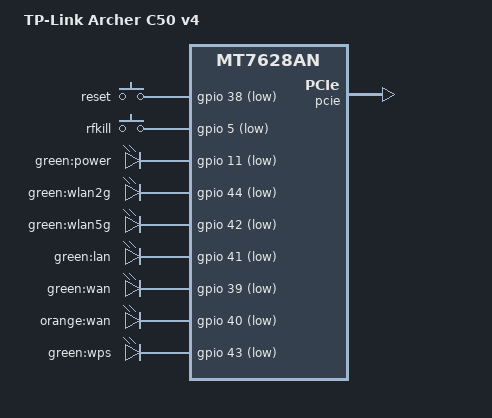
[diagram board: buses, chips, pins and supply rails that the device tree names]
// SPDX-License-Identifier: GPL-2.0-or-later OR MIT

#include "mt7628an_tplink_8m-split-uboot.dtsi"

/ {
	compatible = "tplink,archer-c50-v4", "mediatek,mt7628an-soc";
	model = "TP-Link Archer C50 v4";

	aliases {
		led-boot = &led_power;
		led-failsafe = &led_power;
		led-running = &led_power;
		led-upgrade = &led_power;
	};

	keys {
		compatible = "gpio-keys";

		reset {
			label = "reset";
			gpios = <&gpio 38 GPIO_ACTIVE_LOW>;
			linux,code = <KEY_RESTART>;
		};

		rfkill {
			label = "rfkill";
			gpios = <&gpio 5 GPIO_ACTIVE_LOW>;
			linux,code = <KEY_RFKILL>;
		};
	};

	leds {
		compatible = "gpio-leds";

		led_power: power {
			label = "green:power";
			gpios = <&gpio 11 GPIO_ACTIVE_LOW>;
		};

		wlan2 {
			label = "green:wlan2g";
			gpios = <&gpio 44 GPIO_ACTIVE_LOW>;
		};

		wlan5 {
			label = "green:wlan5g";
			gpios = <&gpio 42 GPIO_ACTIVE_LOW>;
		};

		lan {
			label = "green:lan";
			gpios = <&gpio 41 GPIO_ACTIVE_LOW>;
		};

		wan {
			label = "green:wan";
			gpios = <&gpio 39 GPIO_ACTIVE_LOW>;
		};

		wan_orange {
			label = "orange:wan";
			gpios = <&gpio 40 GPIO_ACTIVE_LOW>;
		};

		wps {
			label = "green:wps";
			gpios = <&gpio 43 GPIO_ACTIVE_LOW>;
		};
	};
};

&ehci {
	status = "disabled";
};

&ohci {
	status = "disabled";
};

&state_default {
	gpio {
		groups = "i2c", "p0led_an", "p1led_an", "p2led_an",
				   "p3led_an", "p4led_an", "wdt", "wled_an";
		function = "gpio";
	};
};

&pcie {
	status = "okay";
};

&pcie0 {
	wifi@0,0 {
		reg = <0x0000 0 0 0 0>;
		mediatek,mtd-eeprom = <&radio 0x8000>;
		ieee80211-freq-limit = <5000000 6000000>;
		mtd-mac-address = <&rom 0xf100>;
		mtd-mac-address-increment = <(-1)>;
	};
};
